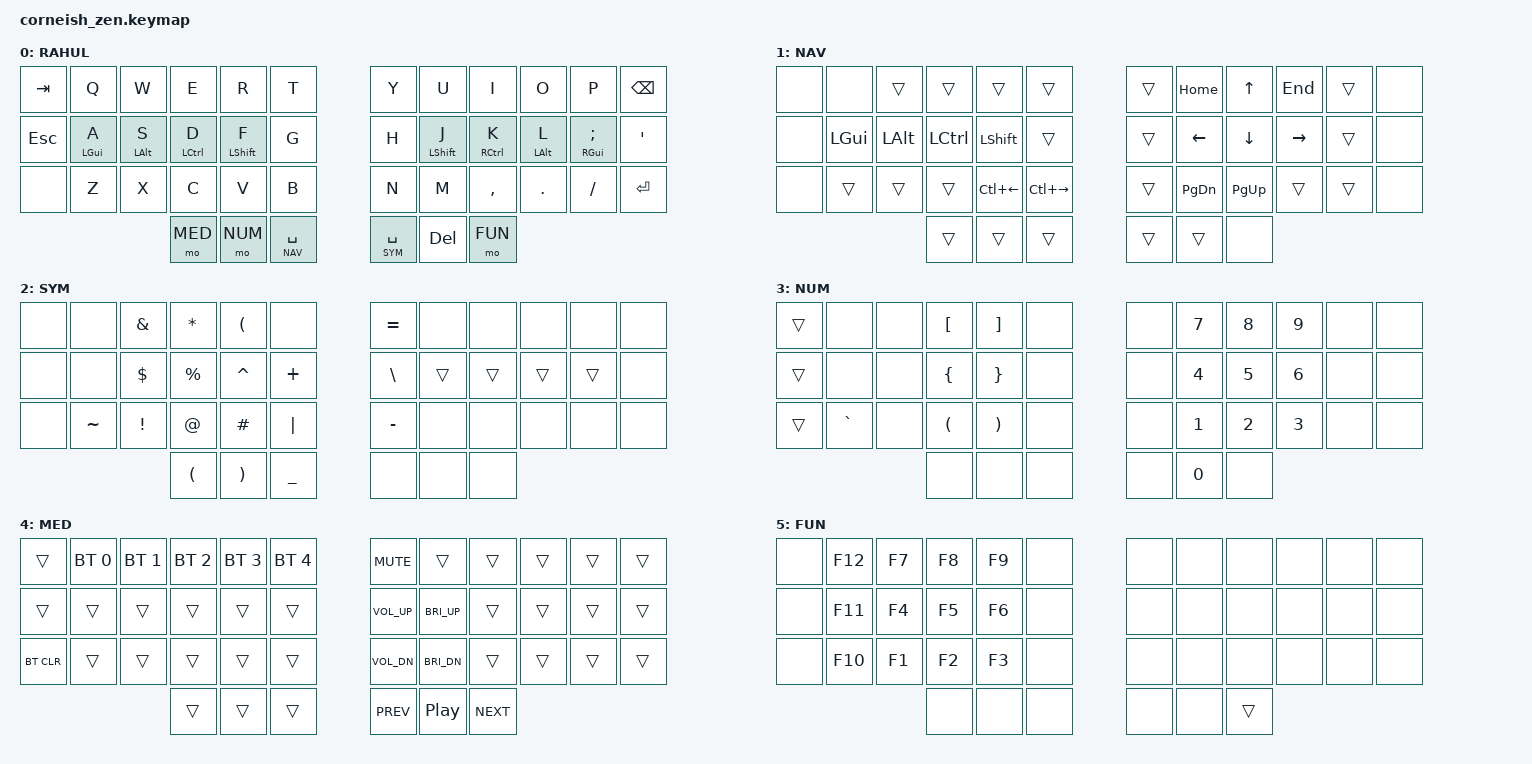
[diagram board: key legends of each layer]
#include <behaviors.dtsi>
#include <dt-bindings/zmk/keys.h>
#include <dt-bindings/zmk/bt.h>

#define RAHUL 0
#define NAV 1
#define SYM 2
#define NUM 3
#define MED 4
#define FUN 5

#define COMBO(NAME, BINDINGS, KEYPOS) \
  combo_##NAME { \
    timeout-ms = <40>; \
    bindings = <BINDINGS>; \
    key-positions = <KEYPOS>; \
  };

/ {
  chosen {
    zmk,matrix_transform = &default_transform;
    //zmk,matrix_transform = &five_column_transform;
  };
};

// Using layer taps on thumbs, having quick tap as well helps w/ repeating space/backspace
&lt { quick_tap_ms = <200>; };
&mt { quick_tap_ms = <200>; };
&caps_word {
    continue-list = <UNDERSCORE MINUS>;
};

/ {
    combos {
        compatible = "zmk,combos";

        COMBO(capsword, &caps_word, 12 23)
    };

    behaviors {
        hm: homerow_mods {
            compatible = "zmk,behavior-hold-tap";
            label = "homerow mods";
            #binding-cells = <2>;
            tapping_term_ms = <200>;
            flavor = "balanced";
            bindings = <&kp>, <&kp>; 
        };
    };

    keymap {
        compatible = "zmk,keymap";

        base_layer {
            label = "RAHUL";
            bindings = <
        // ╭─────────────┬─────────────┬─────────────┬─────────────┬─────────────┬─────────────╮   ╭──────────────┬─────────────┬─────────────┬─────────────┬─────────────┬─────────────╮
             &kp TAB       &kp Q         &kp W         &kp E         &kp R         &kp T             &kp Y          &kp U         &kp I         &kp O         &kp P         &kp BSPC
        // ├─────────────├─────────────┼─────────────┼─────────────┼─────────────┼─────────────┤   ├──────────────┼─────────────┼─────────────┼─────────────┼─────────────┤─────────────┤
             &kp ESC       &hm LGUI A    &hm LALT S    &hm LCTRL D   &hm LSHFT F   &kp G             &kp H          &hm LSHFT J   &hm RCTRL K   &hm LALT L   &hm RGUI SEMI  &kp SQT
        // ├─────────────├─────────────┼─────────────┼─────────────┼─────────────┼─────────────┤   ├──────────────┼─────────────┼─────────────┼─────────────┼─────────────┤─────────────┤
             &none         &kp Z         &kp X         &kp C         &kp V         &kp B             &kp N          &kp M         &kp COMMA     &kp DOT       &kp FSLH      &kp RET
        // ╰─────────────┴─────────────┴─────────────┴─────────────┼─────────────┼─────────────┤   ├──────────────┼─────────────┼─────────────┴─────────────┴─────────────┤─────────────╯
                                                       &mo MED       &mo NUM      &lt NAV SPACE      &lt SYM SPACE  &kp DEL       &mo FUN
        //                                           ╰─────────────┴─────────────┴─────────────╯   ╰──────────────┴─────────────┴─────────────╯
            >;
        };

        nav_layer {
            label = "NAV";
            bindings = <
        // ╭─────────────┬─────────────┬─────────────┬─────────────┬─────────────┬─────────────╮   ╭─────────────┬─────────────┬─────────────┬─────────────┬─────────────┬─────────────╮
             &none         &none         &trans        &trans        &trans        &trans            &trans        &kp HOME      &kp UP        &kp END       &trans        &none
        // ├─────────────├─────────────┼─────────────┼─────────────┼─────────────┼─────────────┤   ├─────────────┼─────────────┼─────────────┼─────────────┼─────────────┤─────────────┤
             &none         &kp LGUI      &kp LALT      &kp LCTRL     &kp LSHFT      &trans           &trans        &kp LEFT      &kp DOWN      &kp RIGHT     &trans        &none 
        // ├─────────────├─────────────┼─────────────┼─────────────┼─────────────┼─────────────┤   ├─────────────┼─────────────┼─────────────┼─────────────┼─────────────┤─────────────┤
             &none         &trans        &trans        &trans        &kp LC(LEFT) &kp LC(RIGHT)      &trans        &kp PG_DN     &kp PG_UP     &trans        &trans        &none
        // ╰─────────────┴─────────────┴─────────────┴─────────────┼─────────────┼─────────────┤   ├─────────────┼─────────────┼─────────────┴─────────────┴─────────────┤─────────────╯
                                                       &trans        &trans        &trans            &trans        &trans        &none
        //                                           ╰─────────────┴─────────────┴─────────────╯   ╰─────────────┴─────────────┴─────────────╯
            >;
        };

        symbol_layer {
            label = "SYM";
            bindings = <
        // ╭─────────────┬─────────────┬─────────────┬─────────────┬─────────────┬─────────────╮   ╭─────────────┬─────────────┬─────────────┬─────────────┬─────────────┬─────────────╮
             &none         &none         &kp AMPS      &kp ASTRK     &kp LPAR      &none             &kp EQUAL     &none         &none         &none         &none         &none 
        // ├─────────────├─────────────┼─────────────┼─────────────┼─────────────┼─────────────┤   ├─────────────┼─────────────┼─────────────┼─────────────┼─────────────┤─────────────┤
             &none         &none         &kp DLLR      &kp PRCNT     &kp CARET     &kp PLUS          &kp BSLH      &trans        &trans        &trans        &trans        &none 
        // ├─────────────├─────────────┼─────────────┼─────────────┼─────────────┼─────────────┤   ├─────────────┼─────────────┼─────────────┼─────────────┼─────────────┤─────────────┤
             &none         &kp TILDE     &kp EXCL      &kp AT        &kp HASH      &kp PIPE          &kp MINUS     &none         &none         &none         &none         &none
        // ╰─────────────┴─────────────┴─────────────┴─────────────┼─────────────┼─────────────┤   ├─────────────┼─────────────┼─────────────┴─────────────┴─────────────┤─────────────╯
                                                       &kp LPAR      &kp RPAR      &kp UNDER         &none        &none        &none
        //                                           ╰─────────────┴─────────────┴─────────────╯   ╰─────────────┴─────────────┴─────────────╯
            >;
        };

        number_layer {
            label = "NUM";
            bindings = <
        // ╭─────────────┬─────────────┬─────────────┬─────────────┬─────────────┬─────────────╮   ╭─────────────┬─────────────┬─────────────┬─────────────┬─────────────┬─────────────╮
             &trans        &none         &none         &kp LBKT      &kp RBKT      &none             &none         &kp N7        &kp N8        &kp N9         &none         &none       
        // ├─────────────├─────────────┼─────────────┼─────────────┼─────────────┼─────────────┤   ├─────────────┼─────────────┼─────────────┼─────────────┼─────────────┤─────────────┤
             &trans        &none         &none         &kp LBRC      &kp RBRC      &none             &none         &kp N4        &kp N5        &kp N6         &none         &none
        // ├─────────────├─────────────┼─────────────┼─────────────┼─────────────┼─────────────┤   ├─────────────┼─────────────┼─────────────┼─────────────┼─────────────┤─────────────┤
             &trans        &kp GRAVE     &none         &kp LPAR      &kp RPAR      &none             &none         &kp N1        &kp N2        &kp N3         &none         &none
        // ╰─────────────┴─────────────┴─────────────┴─────────────┼─────────────┼─────────────┤   ├─────────────┼─────────────┼─────────────┴─────────────┴─────────────┤─────────────╯
                                                       &none         &none         &none             &none         &kp N0        &none
        //                                           ╰─────────────┴─────────────┴─────────────╯   ╰─────────────┴─────────────┴─────────────╯
            >;
        };

        media_layer {
            label = "MED";
            bindings = <
        // ╭─────────────┬─────────────┬─────────────┬─────────────┬─────────────┬─────────────╮   ╭─────────────┬─────────────┬─────────────┬─────────────┬─────────────┬─────────────╮
             &trans        &bt BT_SEL 0  &bt BT_SEL 1  &bt BT_SEL 2  &bt BT_SEL 3  &bt BT_SEL 4      &kp C_MUTE    &trans        &trans        &trans        &trans        &trans 
        // ├─────────────├─────────────┼─────────────┼─────────────┼─────────────┼─────────────┤   ├─────────────┼─────────────┼─────────────┼─────────────┼─────────────┤─────────────┤
             &trans        &trans        &trans        &trans        &trans        &trans            &kp C_VOL_UP  &kp C_BRI_UP  &trans        &trans        &trans        &trans 
        // ├─────────────├─────────────┼─────────────┼─────────────┼─────────────┼─────────────┤   ├─────────────┼─────────────┼─────────────┼─────────────┼─────────────┤─────────────┤
             &bt BT_CLR    &trans        &trans        &trans        &trans        &trans            &kp C_VOL_DN  &kp C_BRI_DN  &trans        &trans        &trans        &trans 
        // ╰─────────────┴─────────────┴─────────────┴─────────────┼─────────────┼─────────────┤   ├─────────────┼─────────────┼─────────────┴─────────────┴─────────────┤─────────────╯
                                                       &trans        &trans	   &trans            &kp C_PREV    &kp C_PP      &kp C_NEXT   
        //                                           ╰─────────────┴─────────────┴─────────────╯   ╰─────────────┴─────────────┴─────────────╯
            >;
        };

        function_layer {
            label = "FUN";
            bindings = <
        // ╭─────────────┬─────────────┬─────────────┬─────────────┬─────────────┬─────────────╮   ╭─────────────┬─────────────┬─────────────┬─────────────┬─────────────┬─────────────╮
             &none         &kp F12        &kp F7        &kp F8        &kp F9        &none            &none         &none         &none         &none         &none         &none       
        // ├─────────────├─────────────┼─────────────┼─────────────┼─────────────┼─────────────┤   ├─────────────┼─────────────┼─────────────┼─────────────┼─────────────┤─────────────┤
             &none         &kp F11        &kp F4        &kp F5        &kp F6        &none            &none         &none         &none         &none         &none         &none
        // ├─────────────├─────────────┼─────────────┼─────────────┼─────────────┼─────────────┤   ├─────────────┼─────────────┼─────────────┼─────────────┼─────────────┤─────────────┤
             &none         &kp F10        &kp F1        &kp F2        &kp F3        &none            &none         &none         &none         &none         &none         &none
        // ╰─────────────┴─────────────┴─────────────┴─────────────┼─────────────┼─────────────┤   ├─────────────┼─────────────┼─────────────┴─────────────┴─────────────┤─────────────╯
                                                        &none         &none         &none            &none         &none         &trans
        //                                           ╰─────────────┴─────────────┴─────────────╯   ╰─────────────┴─────────────┴─────────────╯
            >;
        };
    };
};
